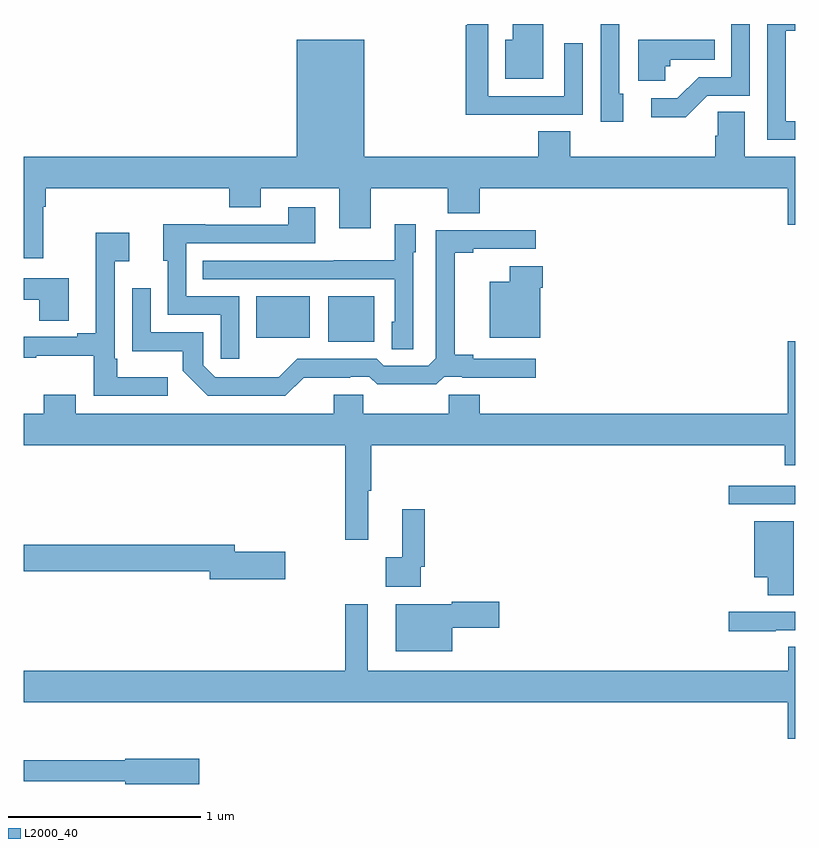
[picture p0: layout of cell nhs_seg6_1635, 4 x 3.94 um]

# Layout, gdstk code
import gdstk
lib = gdstk.Library(unit=1e-6, precision=1e-09)
def R(c, l, rs):  # rectangles x0, y0, x1, y1
    for r in rs: c.add(gdstk.rectangle(r[:2], r[2:], *l))
def P(c, l, *ps):  # polygons
    for p in ps: c.add(gdstk.Polygon(p, *l))
L2000_40 = (2000, 40)

nhs_seg6_1635 = lib.new_cell('nhs_seg6_1635')
R(nhs_seg6_1635, L2000_40, [(212.655,967.011,213,967.107), (210.578,967.853,210.817,968.089), (210.206,967.874,210.484,968.089)])
P(nhs_seg6_1635, L2000_40, [(211.583,969.03),(211.899,969.03),(211.899,969.4),(211.803,969.4),(211.803,969.126),(211.407,969.126),(211.407,969.5),(211.299,969.5),(211.299,969.494),(211.291,969.494),(211.291,969.029),(211.583,969.029)],
  [(212.544,969.129),(212.763,969.129),(212.763,969.5),(212.667,969.5),(212.667,969.225),(212.498,969.225),(212.387,969.114),(212.253,969.114),(212.253,969.017),(212.431,969.017)],
  [(212.107,969.138),(212.088,969.138),(212.088,969.5),(211.99,969.5),(211.99,969.487),(211.992,969.487),(211.992,968.994),(212.107,968.994)],
  [(211.693,969.5),(211.535,969.5),(211.535,969.418),(211.496,969.418),(211.496,969.215),(211.693,969.215)],
  [(213,968.997),(212.949,968.997),(212.949,969.466),(213,969.466),(213,969.5),(212.853,969.5),(212.853,968.901),(213,968.901)],
  [(209,968.286),(209.101,968.286),(209.101,968.552),(209.114,968.552),(209.114,968.648),(210.065,968.648),(210.065,968.549),(210.229,968.549),(210.229,968.648),(210.635,968.648),(210.635,968.442),(210.799,968.442),(210.799,968.648),(211.199,968.648),(211.199,968.52),(211.363,968.52),(211.363,968.648),(212.96,968.648),(212.96,968.46),(213,968.46),(213,968.812),(212.737,968.812),(212.737,969.044),(212.598,969.044),(212.598,968.921),(212.585,968.921),(212.585,968.812),(211.832,968.812),(211.832,968.945),(211.667,968.945),(211.667,968.812),(210.766,968.812),(210.766,969.418),(210.416,969.418),(210.416,968.812),(209,968.812)],
  [(212.325,969.282),(212.352,969.282),(212.352,969.314),(212.582,969.314),(212.582,969.418),(212.186,969.418),(212.186,969.206),(212.325,969.206)],
  [(210.117,968.088),(209.844,968.088),(209.844,968.364),(210.511,968.364),(210.511,968.551),(210.371,968.551),(210.371,968.46),(209.941,968.46),(209.941,968.462),(209.723,968.462),(209.723,968.274),(209.748,968.274),(209.748,967.992),(210.021,967.992),(210.021,967.764),(210.117,967.764)],
  [(211.02,968.316),(211.033,968.316),(211.033,968.461),(210.924,968.461),(210.924,968.275),(210.607,968.275),(210.607,968.274),(209.929,968.274),(209.929,968.178),(210.924,968.178),(210.924,967.956),(210.908,967.956),(210.908,967.813),(211.02,967.813)],
  [(210.452,967.667),(210.692,967.667),(210.692,967.671),(210.792,967.671),(210.832,967.632),(211.139,967.632),(211.179,967.671),(211.273,967.671),(211.273,967.667),(211.654,967.667),(211.654,967.764),(211.33,967.764),(211.33,967.787),(211.235,967.787),(211.235,968.314),(211.33,968.314),(211.33,968.334),(211.654,968.334),(211.654,968.43),(211.137,968.43),(211.137,967.767),(211.098,967.728),(210.867,967.728),(210.831,967.764),(210.417,967.764),(210.323,967.67),(210.218,967.67),(210.218,967.668),(209.994,967.668),(209.931,967.731),(209.931,967.902),(209.658,967.902),(209.658,968.131),(209.562,968.131),(209.562,967.805),(209.824,967.805),(209.824,967.703),(209.954,967.572),(210.357,967.572)],
  [(209.746,967.669),(209.485,967.669),(209.485,967.765),(209.472,967.765),(209.472,968.27),(209.548,968.27),(209.548,968.419),(209.375,968.419),(209.375,967.897),(209.279,967.897),(209.279,967.878),(209,967.878),(209,967.77),(209.065,967.77),(209.065,967.781),(209.364,967.781),(209.364,967.572),(209.746,967.572)],
  [(211.678,968.132),(211.691,968.132),(211.691,968.245),(211.52,968.245),(211.52,968.164),(211.415,968.164),(211.415,967.874),(211.678,967.874)],
  [(209.233,968.182),(209,968.182),(209,968.072),(209.081,968.072),(209.081,967.963),(209.233,967.963)],
  [(210.785,967.08),(210.803,967.08),(210.803,967.316),(212.945,967.316),(212.945,967.214),(213,967.214),(213,967.855),(212.96,967.855),(212.96,967.48),(211.364,967.48),(211.364,967.578),(211.204,967.578),(211.204,967.48),(210.759,967.48),(210.759,967.578),(210.608,967.578),(210.608,967.48),(209.269,967.48),(209.269,967.579),(209.105,967.579),(209.105,967.48),(209,967.48),(209,967.316),(210.667,967.316),(210.667,966.828),(210.785,966.828)],
  [(211.059,966.688),(211.079,966.688),(211.079,966.985),(210.962,966.985),(210.962,966.737),(210.876,966.737),(210.876,966.584),(211.059,966.584)],
  [(212.992,966.922),(212.786,966.922),(212.786,966.632),(212.858,966.632),(212.858,966.538),(212.992,966.538)],
  [(210.355,966.764),(210.094,966.764),(210.094,966.8),(209,966.8),(209,966.664),(209.966,966.664),(209.966,966.622),(210.355,966.622)],
  [(211.222,966.371),(211.465,966.371),(211.465,966.506),(211.218,966.506),(211.218,966.493),(210.929,966.493),(210.929,966.248),(211.222,966.248)],
  [(213,966.272),(212.963,966.272),(212.963,966.148),(210.784,966.148),(210.784,966.493),(210.667,966.493),(210.667,966.148),(209,966.148),(209,965.984),(212.96,965.984),(212.96,965.796),(213,965.796)],
  [(212.899,966.357),(213,966.357),(213,966.453),(212.655,966.453),(212.655,966.353),(212.899,966.353)],
  [(209.911,965.691),(209.526,965.691),(209.526,965.683),(209,965.683),(209,965.574),(209.526,965.574),(209.526,965.561),(209.911,965.561)])

lib.write_gds('nhs_seg6_1635.gds')
